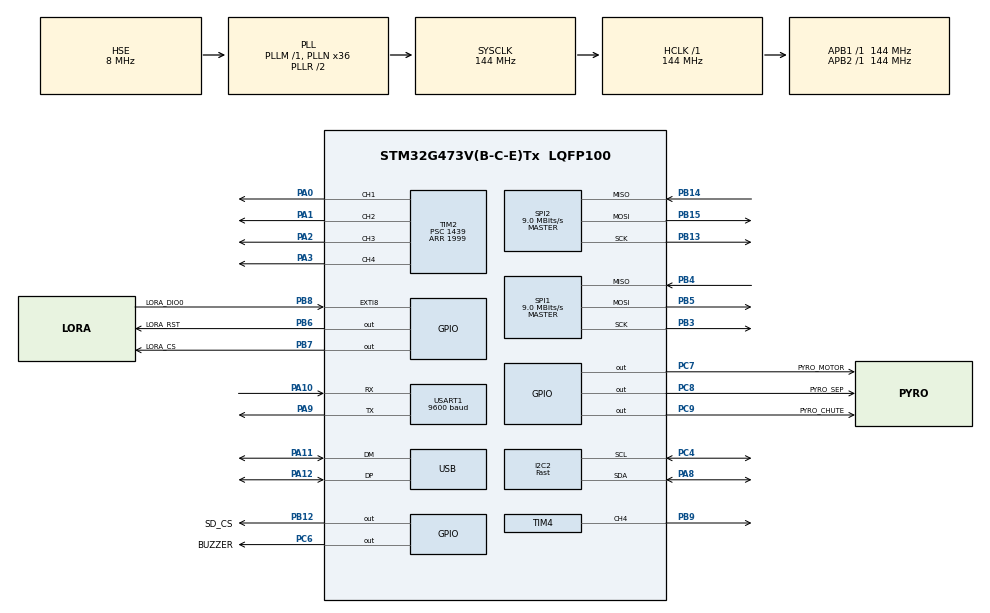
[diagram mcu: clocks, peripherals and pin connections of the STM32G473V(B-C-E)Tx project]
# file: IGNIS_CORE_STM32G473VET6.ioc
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Dma.Request0=TIM4_CH4
Dma.TIM4_CH4.0.Direction=DMA_MEMORY_TO_PERIPH
Dma.TIM4_CH4.0.EventEnable=DISABLE
Dma.TIM4_CH4.0.Instance=DMA1_Channel1
Dma.TIM4_CH4.0.MemDataAlignment=DMA_MDATAALIGN_HALFWORD
Dma.TIM4_CH4.0.MemInc=DMA_MINC_ENABLE
Dma.TIM4_CH4.0.Mode=DMA_NORMAL
Dma.TIM4_CH4.0.PeriphDataAlignment=DMA_PDATAALIGN_HALFWORD
Dma.TIM4_CH4.0.PeriphInc=DMA_PINC_DISABLE
Dma.TIM4_CH4.0.Polarity=HAL_DMAMUX_REQ_GEN_RISING
Dma.TIM4_CH4.0.Priority=DMA_PRIORITY_LOW
Dma.TIM4_CH4.0.RequestNumber=1
Dma.TIM4_CH4.0.SignalID=NONE
Dma.TIM4_CH4.0.SyncEnable=DISABLE
Dma.TIM4_CH4.0.SyncPolarity=HAL_DMAMUX_SYNC_NO_EVENT
Dma.TIM4_CH4.0.SyncRequestNumber=1
Dma.TIM4_CH4.0.SyncSignalID=NONE
I2C2.I2C_Speed_Mode=I2C_Fast
I2C2.Timing=0x10E32674
Mcu.Family=STM32G4
Mcu.Name=STM32G473V(B-C-E)Tx
Mcu.Package=LQFP100
NVIC.DMA1_Channel1_IRQn=true\:0\:0\:false\:false\:true\:false\:true\:true
NVIC.EXTI9_5_IRQn=true\:0\:0\:false\:false\:true\:true\:true\:true
NVIC.PriorityGroup=NVIC_PRIORITYGROUP_4
NVIC.USART1_IRQn=true\:0\:0\:false\:false\:true\:true\:true\:true
NVIC.USB_LP_IRQn=true\:0\:0\:false\:false\:true\:false\:true\:true
PA0.Signal=S_TIM2_CH1
PA1.Signal=S_TIM2_CH2
PA10.Mode=Asynchronous
PA10.Signal=USART1_RX
PA11.Mode=Device
PA11.Signal=USB_DM
PA12.Mode=Device
PA12.Signal=USB_DP
PA13.Signal=SYS_JTMS-SWDIO
PA14.Signal=SYS_JTCK-SWCLK
PA2.Signal=S_TIM2_CH3
PA3.Signal=S_TIM2_CH4
PA8.GPIO_PuPd=GPIO_PULLUP
PA8.Mode=I2C
PA8.Signal=I2C2_SDA
PA9.Mode=Asynchronous
PA9.Signal=USART1_TX
PB12.GPIO_Label=SD_CS
PB12.PinState=GPIO_PIN_SET
PB12.Signal=GPIO_Output
PB13.Mode=Full_Duplex_Master
PB13.Signal=SPI2_SCK
PB14.Mode=Full_Duplex_Master
PB14.Signal=SPI2_MISO
PB15.Mode=Full_Duplex_Master
PB15.Signal=SPI2_MOSI
PB3.Mode=Full_Duplex_Master
PB3.Signal=SPI1_SCK
PB4.Mode=Full_Duplex_Master
PB4.Signal=SPI1_MISO
PB5.Mode=Full_Duplex_Master
PB5.Signal=SPI1_MOSI
PB6.GPIO_Label=LORA_RST
PB6.PinState=GPIO_PIN_SET
PB6.Signal=GPIO_Output
PB7.GPIO_Label=LORA_CS
PB7.PinState=GPIO_PIN_SET
PB7.Signal=GPIO_Output
PB8-BOOT0.GPIO_Label=LORA_DIO0
PB8-BOOT0.GPIO_PuPd=GPIO_PULLDOWN
PB8-BOOT0.Signal=GPXTI8
PB9.Signal=S_TIM4_CH4
PC4.GPIO_PuPd=GPIO_PULLUP
PC4.Mode=I2C
PC4.Signal=I2C2_SCL
PC6.GPIO_Label=BUZZER
PC6.GPIO_PuPd=GPIO_PULLDOWN
PC6.PinState=GPIO_PIN_RESET
PC6.Signal=GPIO_Output
PC7.GPIO_Label=PYRO_MOTOR
PC7.GPIO_PuPd=GPIO_PULLDOWN
PC7.PinState=GPIO_PIN_RESET
PC7.Signal=GPIO_Output
PC8.GPIO_Label=PYRO_SEP
PC8.GPIO_PuPd=GPIO_PULLDOWN
PC8.PinState=GPIO_PIN_RESET
PC8.Signal=GPIO_Output
PC9.GPIO_Label=PYRO_CHUTE
PC9.GPIO_PuPd=GPIO_PULLDOWN
PC9.PinState=GPIO_PIN_RESET
PC9.Signal=GPIO_Output
PF0-OSC_IN.Mode=HSE-External-Oscillator
PF0-OSC_IN.Signal=RCC_OSC_IN
PF1-OSC_OUT.Mode=HSE-External-Oscillator
PF1-OSC_OUT.Signal=RCC_OSC_OUT
ProjectManager.HeapSize=0x200
ProjectManager.StackSize=0x400
ProjectManager.TargetToolchain=CMake
RCC.ADC12Freq_Value=144000000
RCC.ADC345Freq_Value=144000000
RCC.AHBFreq_Value=144000000
RCC.APB1Freq_Value=144000000
RCC.APB1TimFreq_Value=144000000
RCC.APB2Freq_Value=144000000
RCC.APB2TimFreq_Value=144000000
RCC.CortexFreq_Value=144000000
RCC.EXTERNAL_CLOCK_VALUE=12288000
RCC.HCLKFreq_Value=144000000
RCC.HSE_VALUE=8000000
RCC.HSI48_VALUE=48000000
RCC.HSI_VALUE=16000000
RCC.LSE_VALUE=32768
RCC.PLLN=36
RCC.PLLQ=RCC_PLLQ_DIV6
RCC.PLLSourceVirtual=RCC_PLLSOURCE_HSE
RCC.SYSCLKFreq_VALUE=144000000
RCC.SYSCLKSource=RCC_SYSCLKSOURCE_PLLCLK
RCC.USBFreq_Value=48000000
RCC.VCOOutputFreq_Value=288000000
SH.S_TIM2_CH1.0=TIM2_CH1,PWM Generation1 CH1
SH.S_TIM2_CH2.0=TIM2_CH2,PWM Generation2 CH2
SH.S_TIM2_CH3.0=TIM2_CH3,PWM Generation3 CH3
SH.S_TIM2_CH4.0=TIM2_CH4,PWM Generation4 CH4
SH.S_TIM4_CH4.0=TIM4_CH4,PWM Generation4 CH4
SPI1.BaudRatePrescaler=SPI_BAUDRATEPRESCALER_16
SPI1.CalculateBaudRate=9.0 MBits/s
SPI1.DataSize=SPI_DATASIZE_8BIT
SPI1.Direction=SPI_DIRECTION_2LINES
SPI1.Mode=SPI_MODE_MASTER
SPI1.NSSPMode=SPI_NSS_PULSE_DISABLE
SPI1.VirtualType=VM_MASTER
SPI2.BaudRatePrescaler=SPI_BAUDRATEPRESCALER_16
SPI2.CalculateBaudRate=9.0 MBits/s
SPI2.DataSize=SPI_DATASIZE_8BIT
SPI2.Direction=SPI_DIRECTION_2LINES
SPI2.Mode=SPI_MODE_MASTER
SPI2.NSSPMode=SPI_NSS_PULSE_DISABLE
SPI2.VirtualType=VM_MASTER
TIM2.Channel-PWM\ Generation1\ CH1=TIM_CHANNEL_1
TIM2.Channel-PWM\ Generation2\ CH2=TIM_CHANNEL_2
TIM2.Channel-PWM\ Generation3\ CH3=TIM_CHANNEL_3
TIM2.Channel-PWM\ Generation4\ CH4=TIM_CHANNEL_4
TIM2.PeriodNoDither=1999
TIM2.Prescaler=1439
TIM2.PulseNoDither_1=1500
TIM2.PulseNoDither_2=1500
TIM2.PulseNoDither_3=1500
TIM2.PulseNoDither_4=1500
TIM4.AutoReloadPreload=TIM_AUTORELOAD_PRELOAD_ENABLE
TIM4.Channel-PWM\ Generation4\ CH4=TIM_CHANNEL_4
TIM4.PeriodNoDither=179
USART1.BaudRate=9600
USART1.VirtualMode-Asynchronous=VM_ASYNC
USB_DEVICE.CLASS_NAME_FS=CDC
USB_DEVICE.VirtualMode=Cdc
USB_DEVICE.VirtualModeFS=Cdc_FS
VP_SYS_VS_DBSignals.Mode=DisableDeadBatterySignals
VP_TIM2_VS_ClockSourceINT.Mode=Internal
VP_USB_DEVICE_VS_USB_DEVICE_CDC_FS.Mode=CDC_FS
board=custom

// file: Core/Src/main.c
/* USER CODE BEGIN Header */
/**
  ******************************************************************************
  * @file           : main.c
  * @brief          : Main program body
  ******************************************************************************
  * @attention
  *
  * Copyright (c) 2026 STMicroelectronics.
  * All rights reserved.
  *
  * This software is licensed under terms that can be found in the LICENSE file
  * in the root directory of this software component.
  * If no LICENSE file comes with this software, it is provided AS-IS.
  *
  ******************************************************************************
  */
/* USER CODE END Header */
#include "main.h"
#include "dma.h"
#include "i2c.h"
#include "spi.h"
#include "tim.h"
#include "usart.h"
#include "usb_device.h"
#include "gpio.h"

/* USER CODE BEGIN Includes */
#include "WS2812.h"
#include "USB.h"
#include "IMU.h"
#include "Barometer.h"
#include "Sensors.h"
#include "Servos.h"
#include "Flight.h"
/* USER CODE END Includes */

void SystemClock_Config(void);

int main(void)
{

  /* MCU Configuration--------------------------------------------------------*/

  /* Reset of all peripherals, Initializes the Flash interface and the Systick. */
  HAL_Init();

  /* Configure the system clock */
  SystemClock_Config();

  /* Initialize all configured peripherals */
  MX_GPIO_Init();
  MX_DMA_Init();
  MX_USB_Device_Init();
  MX_I2C2_Init();
  MX_SPI1_Init();
  MX_SPI2_Init();
  MX_TIM2_Init();
  MX_TIM4_Init();
  MX_USART1_UART_Init();
  /* USER CODE BEGIN 2 */
  USB_Init();
  WS2812_Init();
  WS2812_SetRGB(255, 180, 0);  /* Yellow: Boot & Calibration */

  HAL_Delay(1000);  /* Wait for USB CDC enumeration */

  USB_Print("\r\n========================================\r\n");
  USB_Print("  IGNIS ROCKET - X-CONFIGURATION FINS\r\n");
  USB_Print("  STM32G473VET6 | MPU6500 | MS5611 | HMC5883L\r\n");
  USB_Print("========================================\r\n");

  Sensors_Init();

  USB_Print("\r\n[1/4] Initializing MPU6500...\r\n");
  IMU_Init();

  USB_Print("[2/4] Initializing MS5611...\r\n");
  Barometer_Init();

  USB_Print("[3/4] Calibrating IMU...\r\n");
  USB_Print("      KEEP BOARD STILL!\r\n");
  HAL_Delay(1000);
  IMU_Calibrate();

  USB_Print("[4/4] Initializing Servos & Flight Loop...\r\n");
  Flight_Init();
  WS2812_SetRGB(0, 255, 0);  /* Green: System Ready (Disarmed) */

  USB_Print("\r\n=== SYSTEM READY ===\r\n");
  USB_Print("Commands: A=ARM, D=DISARM, C=CALIBRATE\r\n\r\n");
  USB_Print("Pitch,Roll,YawRate,PitchCmd,RollCmd,YawCmd,Fin1,Fin2,Fin3,Fin4,Armed\r\n");
  /* USER CODE END 2 */

  /* Infinite loop */
  while (1)
  {

    /* USER CODE BEGIN 3 */
    Flight_Update();
    USB_ProcessCommands();
  }
  /* USER CODE END 3 */
}

void SystemClock_Config(void)
{
  RCC_OscInitTypeDef RCC_OscInitStruct = {0};
  RCC_ClkInitTypeDef RCC_ClkInitStruct = {0};

  /** Configure the main internal regulator output voltage
  */
  HAL_PWREx_ControlVoltageScaling(PWR_REGULATOR_VOLTAGE_SCALE1);

  /** Initializes the RCC Oscillators according to the specified parameters
  * in the RCC_OscInitTypeDef structure.
  */
  RCC_OscInitStruct.OscillatorType = RCC_OSCILLATORTYPE_HSE;
  RCC_OscInitStruct.HSEState = RCC_HSE_ON;
  RCC_OscInitStruct.PLL.PLLState = RCC_PLL_ON;
  RCC_OscInitStruct.PLL.PLLSource = RCC_PLLSOURCE_HSE;
  RCC_OscInitStruct.PLL.PLLM = RCC_PLLM_DIV1;
  RCC_OscInitStruct.PLL.PLLN = 36;
  RCC_OscInitStruct.PLL.PLLP = RCC_PLLP_DIV2;
  RCC_OscInitStruct.PLL.PLLQ = RCC_PLLQ_DIV6;
  RCC_OscInitStruct.PLL.PLLR = RCC_PLLR_DIV2;
  if (HAL_RCC_OscConfig(&RCC_OscInitStruct) != HAL_OK)
  {
    Error_Handler();
  }

  /** Initializes the CPU, AHB and APB buses clocks
  */
  RCC_ClkInitStruct.ClockType = RCC_CLOCKTYPE_HCLK|RCC_CLOCKTYPE_SYSCLK
                              |RCC_CLOCKTYPE_PCLK1|RCC_CLOCKTYPE_PCLK2;
  RCC_ClkInitStruct.SYSCLKSource = RCC_SYSCLKSOURCE_PLLCLK;
  RCC_ClkInitStruct.AHBCLKDivider = RCC_SYSCLK_DIV1;
  RCC_ClkInitStruct.APB1CLKDivider = RCC_HCLK_DIV1;
  RCC_ClkInitStruct.APB2CLKDivider = RCC_HCLK_DIV1;

  if (HAL_RCC_ClockConfig(&RCC_ClkInitStruct, FLASH_LATENCY_4) != HAL_OK)
  {
    Error_Handler();
  }
}

void Error_Handler(void)
{
  __disable_irq();
  while (1)
  {
  }
}
